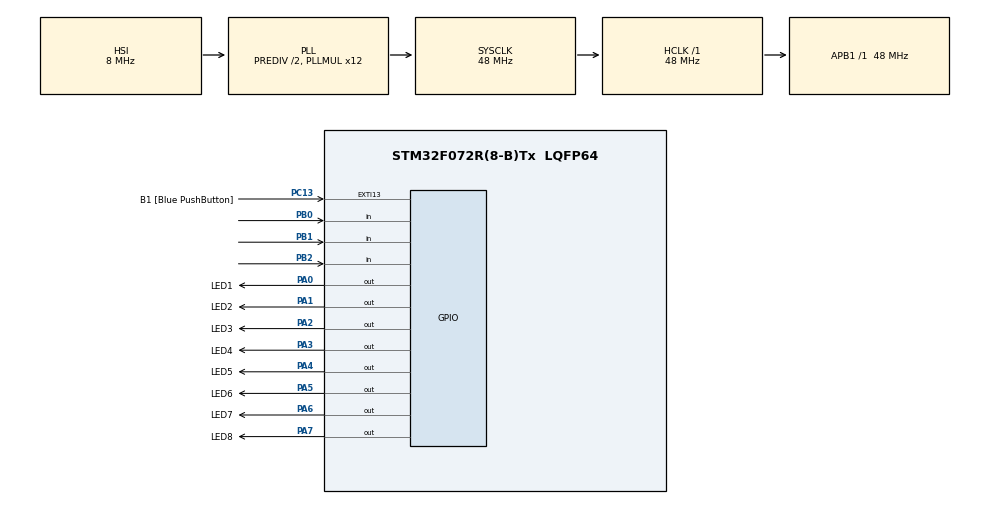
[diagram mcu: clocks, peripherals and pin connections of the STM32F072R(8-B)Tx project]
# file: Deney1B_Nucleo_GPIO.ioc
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Mcu.Family=STM32F0
Mcu.Name=STM32F072R(8-B)Tx
Mcu.Package=LQFP64
PA0.GPIO_Label=LED1
PA0.Signal=GPIO_Output
PA1.GPIO_Label=LED2
PA1.Signal=GPIO_Output
PA13.GPIO_Label=TMS
PA13.Signal=SYS_SWDIO
PA14.GPIO_Label=TCK
PA14.Signal=SYS_SWCLK
PA2.GPIO_Label=LED3
PA2.Signal=GPIO_Output
PA3.GPIO_Label=LED4
PA3.Signal=GPIO_Output
PA4.GPIO_Label=LED5
PA4.Signal=GPIO_Output
PA5.GPIO_Label=LED6
PA5.Signal=GPIO_Output
PA6.GPIO_Label=LED7
PA6.Signal=GPIO_Output
PA7.GPIO_Label=LED8
PA7.Signal=GPIO_Output
PB0.GPIO_PuPd=GPIO_PULLDOWN
PB0.Signal=GPIO_Input
PB1.GPIO_PuPd=GPIO_PULLDOWN
PB1.Signal=GPIO_Input
PB2.GPIO_PuPd=GPIO_PULLDOWN
PB2.Signal=GPIO_Input
PC13.GPIO_Label=B1 [Blue PushButton]
PC13.GPIO_ModeDefaultEXTI=GPIO_MODE_IT_FALLING
PC13.Signal=GPXTI13
PC14-OSC32_IN.Signal=RCC_OSC32_IN
PC15-OSC32_OUT.Signal=RCC_OSC32_OUT
PF0-OSC_IN.Signal=RCC_OSC_IN
PF1-OSC_OUT.Signal=RCC_OSC_OUT
ProjectManager.HeapSize=0x200
ProjectManager.StackSize=0x400
ProjectManager.TargetToolchain=STM32CubeIDE
RCC.AHBFreq_Value=48000000
RCC.APB1Freq_Value=48000000
RCC.APB1TimFreq_Value=48000000
RCC.FLatency-AdvancedSettings=FLASH_LATENCY_1
RCC.HCLKFreq_Value=48000000
RCC.PLLDivider=RCC_PREDIV_DIV2
RCC.PLLMUL=RCC_PLL_MUL12
RCC.SYSCLKFreq_VALUE=48000000
RCC.SYSCLKSource=RCC_SYSCLKSOURCE_PLLCLK
board=NUCLEO-F072RB

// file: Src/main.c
/* USER CODE BEGIN Header */
/**
  ******************************************************************************
  * @file           : main.c
  * @brief          : Main program body
  ******************************************************************************
  * @attention
  *
  * Copyright (c) 2025 STMicroelectronics.
  * All rights reserved.
  *
  * This software is licensed under terms that can be found in the LICENSE file
  * in the root directory of this software component.
  * If no LICENSE file comes with this software, it is provided AS-IS.
  *
  ******************************************************************************
  */
/* USER CODE END Header */
#include "main.h"

void SystemClock_Config(void);
static void MX_GPIO_Init(void);

/* USER CODE BEGIN 0 */
// LED Pinlerini PA0-PA7 arası bir diziye tanımlıyoruz ki döngü ile kontrol edebilelim.
uint16_t LED_PINS[] = {
    GPIO_PIN_0, GPIO_PIN_1, GPIO_PIN_2, GPIO_PIN_3,
    GPIO_PIN_4, GPIO_PIN_5, GPIO_PIN_6, GPIO_PIN_7
};

uint32_t beklemeSuresi = 250; // Varsayılan Hız (ms)
/* USER CODE END 0 */

int main(void)
{

  /* MCU Configuration--------------------------------------------------------*/

  /* Reset of all peripherals, Initializes the Flash interface and the Systick. */
  HAL_Init();

  /* Configure the system clock */
  SystemClock_Config();

  /* Initialize all configured peripherals */
  MX_GPIO_Init();

  /* Infinite loop */
  /* USER CODE BEGIN WHILE */
    while (1)
    {
        // --- 1. DÖNGÜ: Soldan Sağa Akış (LED1 -> LED8) ---
        for(int i = 0; i < 8; i++)
        {
            // KONTROL 1: Buton 1 (PB0) - Tümünü Yak
            // Butona basıldığı sürece (Lojik 1 oldukça) buraya girer.
            while(HAL_GPIO_ReadPin(GPIOB, GPIO_PIN_0) == GPIO_PIN_SET)
            {
                // Port A'daki tüm pinleri (LED'leri) yak
                HAL_GPIO_WritePin(GPIOA, GPIO_PIN_All, GPIO_PIN_SET);
            }

            // Sıradaki LED'i Yak (Port A kullanılır)
            HAL_GPIO_WritePin(GPIOA, LED_PINS[i], GPIO_PIN_SET);

            // KONTROL 2: Buton 2 (PB1) - Durdur
            // Butona basıldığı sürece işlemci burada takılı kalır (Pause)
            while(HAL_GPIO_ReadPin(GPIOB, GPIO_PIN_1) == GPIO_PIN_SET);

            // KONTROL 3: Buton 3 (PB2) - Hızlandır
            // Butona basılıysa bekleme süresini düşür
            if(HAL_GPIO_ReadPin(GPIOB, GPIO_PIN_2) == GPIO_PIN_SET)
                beklemeSuresi = 50;  // Hızlı Mod (Turbo)
            else
                beklemeSuresi = 250; // Normal Mod

            // Belirlenen süre kadar bekle
            HAL_Delay(beklemeSuresi);

            // LED'i Söndür ve bir sonrakine geç
            HAL_GPIO_WritePin(GPIOA, LED_PINS[i], GPIO_PIN_RESET);
        }

        // --- 2. DÖNGÜ: Geriye Dönüş ---
        // (İsteğe bağlı olarak buraya tersten for döngüsü eklenebilir)
    }
    /* USER CODE END WHILE */

  }

void SystemClock_Config(void)
{
  RCC_OscInitTypeDef RCC_OscInitStruct = {0};
  RCC_ClkInitTypeDef RCC_ClkInitStruct = {0};

  /** Initializes the RCC Oscillators according to the specified parameters
  * in the RCC_OscInitTypeDef structure.
  */
  RCC_OscInitStruct.OscillatorType = RCC_OSCILLATORTYPE_HSI;
  RCC_OscInitStruct.HSIState = RCC_HSI_ON;
  RCC_OscInitStruct.HSICalibrationValue = RCC_HSICALIBRATION_DEFAULT;
  RCC_OscInitStruct.PLL.PLLState = RCC_PLL_ON;
  RCC_OscInitStruct.PLL.PLLSource = RCC_PLLSOURCE_HSI;
  RCC_OscInitStruct.PLL.PLLMUL = RCC_PLL_MUL12;
  RCC_OscInitStruct.PLL.PREDIV = RCC_PREDIV_DIV2;
  if (HAL_RCC_OscConfig(&RCC_OscInitStruct) != HAL_OK)
  {
    Error_Handler();
  }

  /** Initializes the CPU, AHB and APB buses clocks
  */
  RCC_ClkInitStruct.ClockType = RCC_CLOCKTYPE_HCLK|RCC_CLOCKTYPE_SYSCLK
                              |RCC_CLOCKTYPE_PCLK1;
  RCC_ClkInitStruct.SYSCLKSource = RCC_SYSCLKSOURCE_PLLCLK;
  RCC_ClkInitStruct.AHBCLKDivider = RCC_SYSCLK_DIV1;
  RCC_ClkInitStruct.APB1CLKDivider = RCC_HCLK_DIV1;

  if (HAL_RCC_ClockConfig(&RCC_ClkInitStruct, FLASH_LATENCY_1) != HAL_OK)
  {
    Error_Handler();
  }
}

static void MX_GPIO_Init(void)
{
  GPIO_InitTypeDef GPIO_InitStruct = {0};

  /* GPIO Ports Clock Enable */
  __HAL_RCC_GPIOC_CLK_ENABLE();
  __HAL_RCC_GPIOF_CLK_ENABLE();
  __HAL_RCC_GPIOA_CLK_ENABLE();
  __HAL_RCC_GPIOB_CLK_ENABLE();

  /*Configure GPIO pin Output Level */
  HAL_GPIO_WritePin(GPIOA, LED1_Pin|LED2_Pin|LED3_Pin|LED4_Pin
                          |LED5_Pin|LED6_Pin|LED7_Pin|LED8_Pin, GPIO_PIN_RESET);

  /*Configure GPIO pin : B1_Pin */
  GPIO_InitStruct.Pin = B1_Pin;
  GPIO_InitStruct.Mode = GPIO_MODE_IT_FALLING;
  GPIO_InitStruct.Pull = GPIO_NOPULL;
  HAL_GPIO_Init(B1_GPIO_Port, &GPIO_InitStruct);

  /*Configure GPIO pins : LED1_Pin LED2_Pin LED3_Pin LED4_Pin
                           LED5_Pin LED6_Pin LED7_Pin LED8_Pin */
  GPIO_InitStruct.Pin = LED1_Pin|LED2_Pin|LED3_Pin|LED4_Pin
                          |LED5_Pin|LED6_Pin|LED7_Pin|LED8_Pin;
  GPIO_InitStruct.Mode = GPIO_MODE_OUTPUT_PP;
  GPIO_InitStruct.Pull = GPIO_NOPULL;
  GPIO_InitStruct.Speed = GPIO_SPEED_FREQ_LOW;
  HAL_GPIO_Init(GPIOA, &GPIO_InitStruct);

  /*Configure GPIO pins : PB0 PB1 PB2 */
  GPIO_InitStruct.Pin = GPIO_PIN_0|GPIO_PIN_1|GPIO_PIN_2;
  GPIO_InitStruct.Mode = GPIO_MODE_INPUT;
  GPIO_InitStruct.Pull = GPIO_PULLDOWN;
  HAL_GPIO_Init(GPIOB, &GPIO_InitStruct);

}

void Error_Handler(void)
{
  __disable_irq();
  while (1)
  {
  }
}
